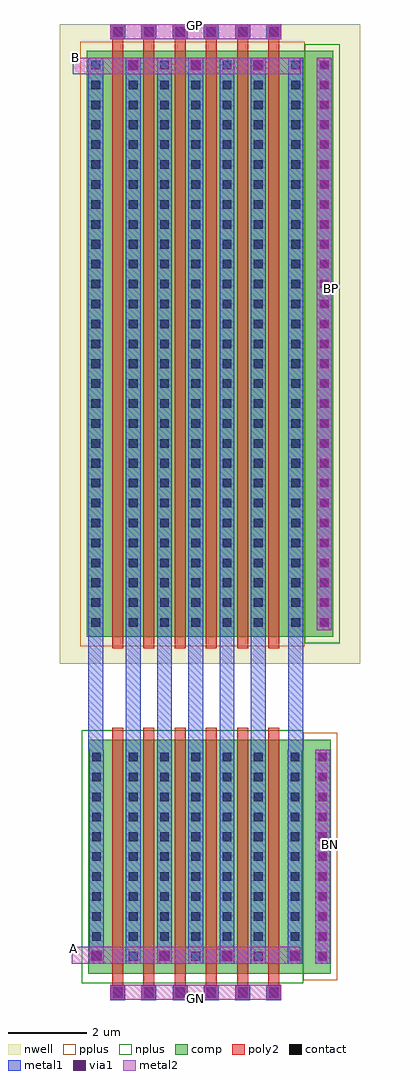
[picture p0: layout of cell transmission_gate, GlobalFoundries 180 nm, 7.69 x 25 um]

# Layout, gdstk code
import gdstk
lib = gdstk.Library(unit=1e-6, precision=1e-09)
def R(c, l, rs):  # rectangles x0, y0, x1, y1
    for r in rs: c.add(gdstk.rectangle(r[:2], r[2:], *l))
def A(c, l, x, y, w, h, nx, ny, dx, dy):  # array of equal rectangles
    R(c, l, [(x+i*dx, y+j*dy, x+i*dx+w, y+j*dy+h) for i in range(nx) for j in range(ny)])
nwell = (21, 0)
comp = (22, 0)
poly2 = (30, 0)
pplus = (31, 0)
nplus = (32, 0)
contact = (33, 0)
metal1 = (34, 0)
via1 = (35, 0)
metal2 = (36, 0)

transmission_gate = lib.new_cell('transmission_gate')
R(transmission_gate, nwell, [(-1.62,7.46,6.07,23.84)])
R(transmission_gate, comp, [(-0.89,-0.484,-0.47,5.516), (-0.47,-0.484,4.19,5.516), (4.19,-0.484,4.61,5.516), (4.61,-0.484,5.32,5.516), (-0.93,8.15,-0.47,23.15), (-0.47,8.15,4.19,23.15), (4.19,8.15,4.65,23.15), (4.65,8.15,5.38,23.15)])
A(transmission_gate, poly2, -0.32, -1.144, 0.36, 0.36, 6, 1, 0.8, 0)
A(transmission_gate, poly2, -0.28, -0.784, 0.28, 6.6, 6, 1, 0.8, 0)
A(transmission_gate, poly2, -0.28, 7.85, 0.28, 15.6, 6, 1, 0.8, 0)
A(transmission_gate, poly2, -0.33, 23.45, 0.38, 0.38, 6, 1, 0.8, 0)
R(transmission_gate, pplus, [(4.61,-0.654,5.49,5.686), (-1.1,7.91,4.65,23.39)])
R(transmission_gate, nplus, [(-1.06,-0.724,4.61,5.756), (4.65,7.98,5.55,23.32)])
A(transmission_gate, contact, -0.25, -1.074, 0.22, 0.22, 6, 2, 0.8, 24.604)
A(transmission_gate, contact, -0.79, -0.144, 0.22, 0.22, 1, 11, 0, 0.51)
A(transmission_gate, contact, 0.15, -0.144, 0.22, 0.22, 5, 11, 0.8, 0.51)
A(transmission_gate, contact, 4.29, -0.144, 0.22, 0.22, 1, 11, 0, 0.51)
A(transmission_gate, contact, 5, -0.144, 0.22, 0.22, 1, 11, 0, 0.51)
A(transmission_gate, contact, -0.81, 8.4, 0.22, 0.22, 1, 29, 0, 0.51)
A(transmission_gate, contact, 0.15, 8.4, 0.22, 0.22, 5, 29, 0.8, 0.51)
A(transmission_gate, contact, 4.31, 8.4, 0.22, 0.22, 1, 29, 0, 0.51)
A(transmission_gate, contact, 5.04, 8.4, 0.22, 0.22, 1, 29, 0, 0.51)
A(transmission_gate, metal1, -0.33, -1.155, 0.38, 0.382, 6, 2, 0.8, 24.604)
A(transmission_gate, metal1, 0.07, -0.224, 0.38, 5.48, 5, 1, 0.8, 0)
A(transmission_gate, metal1, 0.07, 5.255, 0.38, 3.065, 5, 1, 0.8, 0)
A(transmission_gate, metal1, 0.07, 8.32, 0.38, 14.66, 5, 1, 0.8, 0)
R(transmission_gate, metal1, [(-0.87,-0.224,-0.49,5.256), (4.21,-0.224,4.59,5.256), (4.92,-0.224,5.3,5.256), (-0.89,5.255,-0.51,8.32), (4.23,5.255,4.61,8.32), (-0.89,8.32,-0.51,22.98), (4.23,8.32,4.61,22.98), (4.96,8.32,5.34,22.98)])
A(transmission_gate, via1, -0.27, -1.094, 0.26, 0.26, 6, 2, 0.8, 24.604)
A(transmission_gate, via1, 5, -0.144, 0.22, 0.22, 1, 11, 0, 0.51)
A(transmission_gate, via1, 5.04, 8.4, 0.22, 0.22, 1, 29, 0, 0.51)
A(transmission_gate, via1, 0.13, 22.65, 0.26, 0.26, 3, 1, 1.6, 0)
R(transmission_gate, via1, [(2.53,-0.16,2.79,0.1), (0.93,-0.155,1.19,0.105), (4.27,-0.155,4.53,0.105), (-0.81,-0.15,-0.55,0.11)])
R(transmission_gate, metal2, [(-0.33,-1.152,4.05,-0.77), (-1.31,-0.224,4.53,0.205), (4.92,-0.224,5.3,5.256), (4.96,8.32,5.34,22.98), (-1.285,22.551,4.555,22.98), (-0.33,23.448,4.05,23.83)])
transmission_gate.add(gdstk.Label('GN', (1.845,-1.125), layer=36, texttype=0))
transmission_gate.add(gdstk.Label('GP', (1.83,23.81), layer=36, texttype=0))
transmission_gate.add(gdstk.Label('B', (-1.215,22.98), layer=36, texttype=0))
transmission_gate.add(gdstk.Label('A', (-1.28,0.17), layer=36, texttype=0))
transmission_gate.add(gdstk.Label('BP', (5.34,17.055), layer=36, texttype=0))
transmission_gate.add(gdstk.Label('BN', (5.3,2.84), layer=36, texttype=0))

lib.write_gds('transmission_gate.gds')
